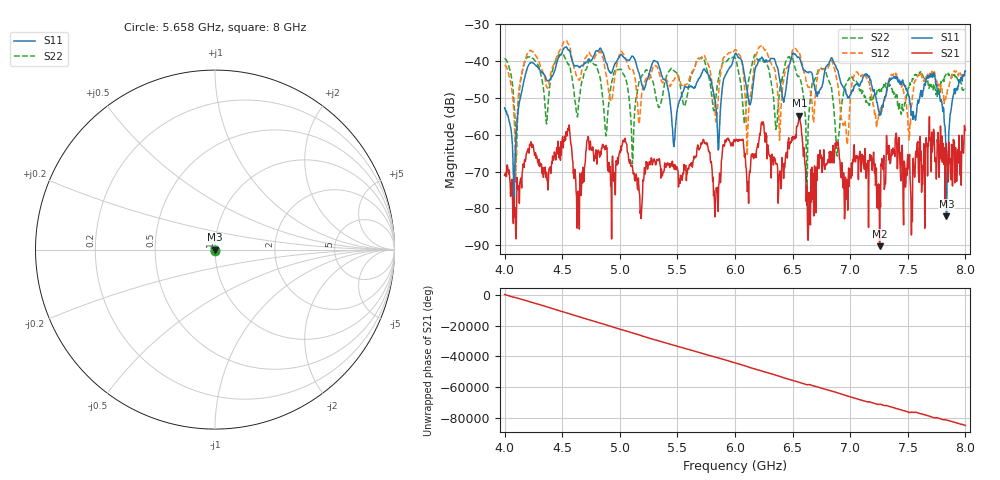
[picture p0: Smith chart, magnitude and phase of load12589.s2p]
# Hz  S  RI  R  50.0
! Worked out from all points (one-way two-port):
!   1000 points, 4 GHz to 8 GHz, reference 50 ohm
!   highest |S21| = -54.77 dB at 6.559 GHz (marker M1); lowest = -90.3 dB at 7.255 GHz (marker M2)
!   lowest |S11| = -82.2 dB at 7.836 GHz (marker M3), VSWR 1.00, Z = 50 - j0.00743 ohm
!   |S11| at or under -10 dB: start of sweep to end of sweep
!   |S22| runs from -79.1 to -38.1 dB; largest |S21 - S12| = 0.019
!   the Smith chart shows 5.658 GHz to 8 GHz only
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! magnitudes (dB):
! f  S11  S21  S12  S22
! 4 GHz  -52.7  -71.0  -41.1  -39.2
! 4.096 GHz  -62.6  -86.3  -72.8  -61.3
! 4.216 GHz  -40.7  -62.7  -37.2  -38.9
! 4.669 GHz  -41.1  -73.3  -42.8  -45.7
! 5.337 GHz  -41.0  -67.0  -42.7  -52.5
! 5.469 GHz  -63.2  -68.1  -45.1  -42.6
! 5.734 GHz  -42.1  -62.2  -38.4  -39.7
! 5.854 GHz  -64.2  -80.8  -50.1  -45.2
! 6.002 GHz  -38.0  -61.9  -36.9  -39.1
! 6.11 GHz  -48.8  -74.9  -60.0  -47.0
! 6.214 GHz  -39.4  -59.8  -36.0  -39.9
! 6.39 GHz  -45.5  -69.8  -59.7  -47.3
! 6.559 GHz  -39.1  -54.8  -37.6  -44.4
! 6.623 GHz  -42.9  -73.8  -46.0  -79.1
! 6.667 GHz  -43.2  -68.8  -50.6  -46.8
! 6.891 GHz  -42.5  -62.9  -46.0  -65.4
! 6.995 GHz  -49.5  -69.2  -53.2  -44.7
! 7.255 GHz  -54.7  -90.3  -54.4  -48.3
! 7.335 GHz  -45.6  -66.8  -44.9  -45.5
! 7.72 GHz  -44.2  -62.0  -43.1  -47.8
! 7.836 GHz  -82.2  -63.6  -48.7  -43.3
! 8 GHz  -42.7  -58.8  -43.5  -47.6
